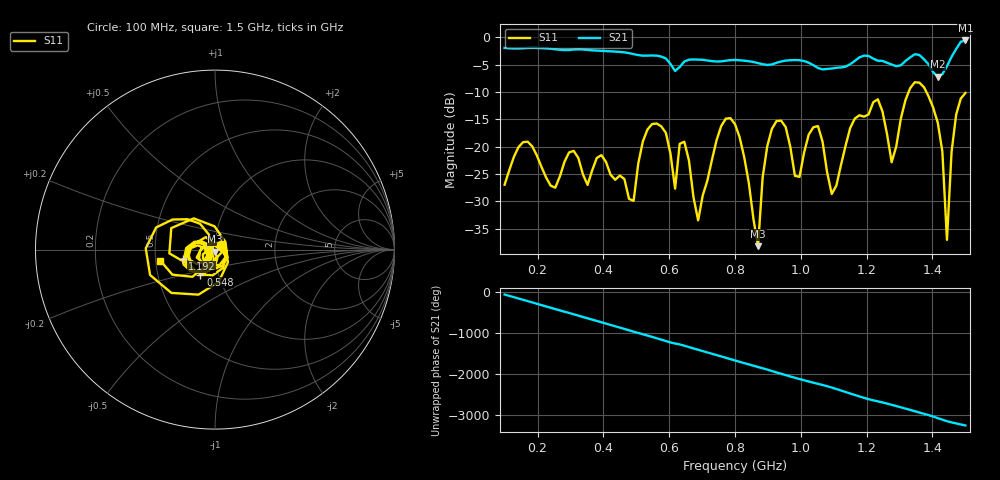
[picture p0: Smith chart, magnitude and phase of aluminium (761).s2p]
! NanoVNA-App
! Date: 2025-09-25 15:01:12
! Start: 100MHz Stop: 1,5GHz Points: 101
! S-Parameter data: F S11 S21 S12 S22
# Hz S RI R 50
!  Frequency  S11_Real  S11_Imag  S21_Real  S21_Imag  S12_Real  S12_Imag  S22_Real  S22_Imag
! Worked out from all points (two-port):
!   101 points, 100 MHz to 1.5 GHz, reference 50 ohm
!   highest |S21| = -0.56 dB at 1.5 GHz (marker M1); lowest = -7.2 dB at 1.416 GHz (marker M2)
!   |S21| within 3 dB of the highest: start of sweep to 577.9 MHz; 1.458 GHz to end of sweep (the widest 2 of 4)
!   lowest |S11| = -38.2 dB at 870 MHz (marker M3), VSWR 1.02, Z = 50.1 - j1.23 ohm
!   |S11| at or under -10 dB: start of sweep to 1.328 GHz; 1.382 GHz to end of sweep
!   S12 and S22 are empty: the file has one direction only
!   S11 on the Smith chart (normalised r, x): 100 MHz: 1.07, +0.06; 548 MHz: 0.82, -0.23; 1.192 GHz: 0.69, -0.08; 1.5 GHz: 0.53, -0.07
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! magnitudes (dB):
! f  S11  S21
! 100 MHz  -27.0  -1.9
! 338 MHz  -25.1  -2.2
! 492 MHz  -29.9  -3.1
! 548 MHz  -15.9  -3.3
! 576 MHz  -16.3  -3.5
! 618 MHz  -27.7  -6.1
! 646 MHz  -19.1  -4.4
! 688 MHz  -33.5  -4.1
! 800 MHz  -15.9  -4.1
! 870 MHz  -38.2  -4.7
! 912 MHz  -16.7  -4.9
! 996 MHz  -25.5  -4.2
! 1.038 GHz  -16.5  -5.1
! 1.094 GHz  -28.7  -5.7
! 1.192 GHz  -14.5  -3.3
! 1.234 GHz  -11.3  -4.3
! 1.276 GHz  -22.8  -5.0
! 1.346 GHz  -8.2  -3.1
! 1.416 GHz  -15.6  -7.2
! 1.444 GHz  -37.1  -5.3
! 1.472 GHz  -14.1  -2.1
! 1.5 GHz  -10.2  -0.6
